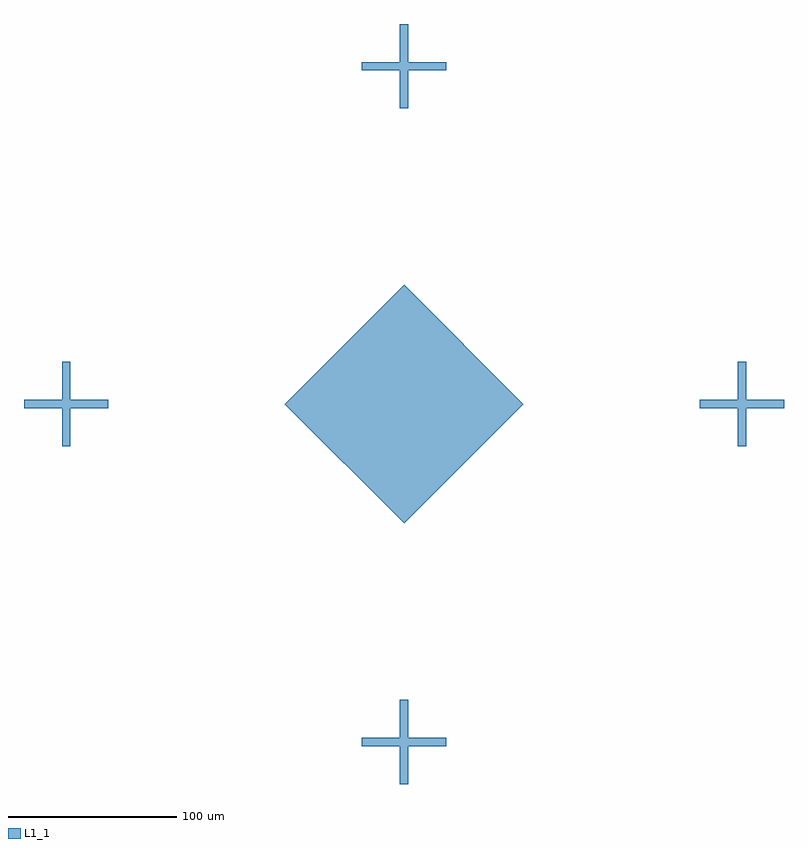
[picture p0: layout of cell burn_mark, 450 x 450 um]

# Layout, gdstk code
import gdstk
lib = gdstk.Library(unit=1e-6, precision=1e-09)
def P(c, l, *ps):  # polygons
    for p in ps: c.add(gdstk.Polygon(p, *l))
L1_1 = (1, 1)

burn_mark = lib.new_cell('burn_mark')
P(burn_mark, L1_1, [(0,-70.711),(-70.711,0),(0,70.711),(70.711,0),(0,-70.711)],
  [(-225,-2.5),(-225,2.5),(-175,2.5),(-175,-2.5),(-225,-2.5)],
  [(-202.5,-25),(-202.5,25),(-197.5,25),(-197.5,-25),(-202.5,-25)],
  [(-25,197.5),(-25,202.5),(25,202.5),(25,197.5),(-25,197.5)],
  [(-2.5,175),(-2.5,225),(2.5,225),(2.5,175),(-2.5,175)],
  [(175,-2.5),(175,2.5),(225,2.5),(225,-2.5),(175,-2.5)],
  [(197.5,-25),(197.5,25),(202.5,25),(202.5,-25),(197.5,-25)],
  [(-25,-202.5),(-25,-197.5),(25,-197.5),(25,-202.5),(-25,-202.5)],
  [(-2.5,-225),(-2.5,-175),(2.5,-175),(2.5,-225),(-2.5,-225)])

lib.write_gds('burn_mark.gds')
